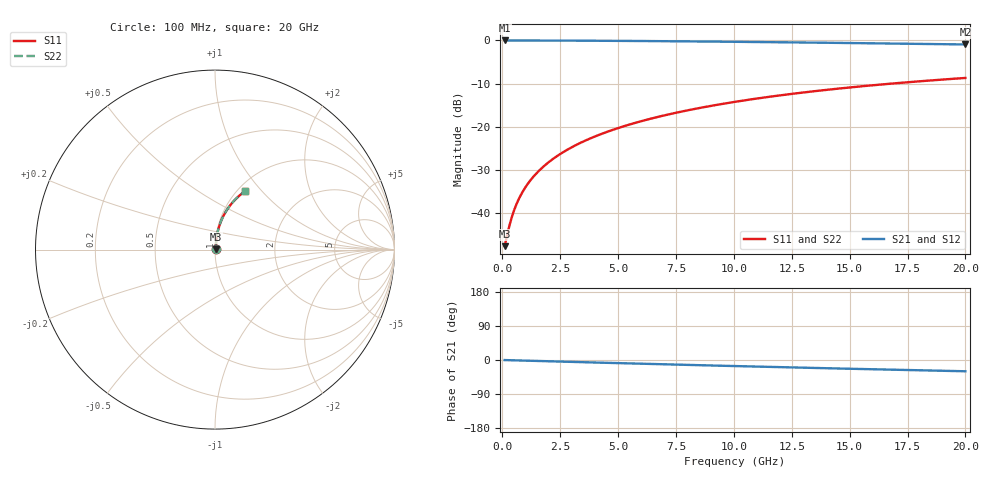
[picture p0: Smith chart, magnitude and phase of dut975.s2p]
! Touchstone file exported from HFSS 2024.1.0
!  File:  C:/UserFiles/LocalFiles/RDL_TSV_Batchsim/temp_RDL_bottom_975_1779943241.aedt
!  Generated:  12:43:21 PM May 28, 2026
!  Design:  RDL_bottom
!  Project:  temp_RDL_bottom_975_1779943241
!  Setup:  Setup1
!  Solution:  Sweep
! Variables:
!  dtsv = 10.80580581um
!  hbump = 3um
!  htsv = 85.39um
!  ldown = 328.1um
!  lrdl = 100um
!  p = 40
!  p1 = 54.17um
!  rhole = 1um
!  t = 450um
!  tdown = 2.4um
!  trdl = 3.915915916um
!  wdown = 14.02um
!  wrdl = 20um
# GHz S MA R 50.000000
! Terminal data exported
! Port[1] = RDL1_T1
! Port[2] = RDL1_T2
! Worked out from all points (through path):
!   200 points, 100 MHz to 20 GHz, reference 50 ohm
!   highest |S21| = -0.03 dB at 100 MHz (marker M1); lowest = -1.0 dB at 20 GHz (marker M2)
!   group delay of S21, straight-line fit = 4.13 ps
!   lowest |S11| = -47.6 dB at 100 MHz (marker M3), VSWR 1.01, Z = 50.4 + j0.202 ohm
!   |S11| at or under -10 dB: start of sweep to 16.81 GHz
!   |S22| runs from -47.6 to -8.7 dB; largest |S21 - S12| = 2.3e-15
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0.1  0.004186 28.7  0.9963 -0.2  0.9963 -0.2  0.004186 28.7
! Gamma 0 0 0 0
! Port Impedance 50 0 50 0
0.3  0.007089 57.8  0.9962 -0.5  0.9962 -0.5  0.007089 57.8
0.4  0.008859 64.2  0.9961 -0.7  0.9961 -0.7  0.008859 64.2
0.5  0.01069 68.3  0.996 -0.9  0.996 -0.9  0.01069 68.3
0.6  0.01255 71.1  0.9959 -1.0  0.9959 -1.0  0.01255 71.2
0.7  0.01443 73.2  0.9958 -1.2  0.9958 -1.2  0.01443 73.2
0.9  0.01819 76.0  0.9956 -1.5  0.9956 -1.5  0.01819 76.0
1.2  0.02385 78.5  0.9952 -2.0  0.9952 -2.0  0.02385 78.5
1.4  0.02763 79.6  0.9949 -2.4  0.9949 -2.4  0.02763 79.6
1.7  0.03332 80.6  0.9945 -2.9  0.9945 -2.9  0.03332 80.6
2.2  0.04283 81.7  0.9936 -3.7  0.9936 -3.7  0.04283 81.7
2.8  0.05432 82.2  0.9923 -4.7  0.9923 -4.7  0.05432 82.2
3.5  0.06779 82.3  0.9906 -5.8  0.9906 -5.8  0.06779 82.3
4.2  0.08133 82.0  0.9885 -6.9  0.9885 -6.9  0.08133 82.0
5  0.09687 81.5  0.9857 -8.2  0.9857 -8.2  0.09687 81.5
5.9  0.1144 80.8  0.9822 -9.7  0.9822 -9.7  0.1144 80.8
6.8  0.1319 79.8  0.9783 -11.1  0.9783 -11.1  0.1319 79.8
8.3  0.1611 78.1  0.971 -13.4  0.971 -13.4  0.1611 78.1
10.1  0.1956 75.8  0.9612 -16.1  0.9612 -16.1  0.1956 75.8
13.4  0.2569 71.4  0.9412 -20.9  0.9412 -20.9  0.2569 71.4
16.7  0.3144 66.9  0.919 -25.4  0.919 -25.4  0.3144 66.9
20  0.3675 62.6  0.8955 -29.7  0.8955 -29.7  0.3675 62.6
